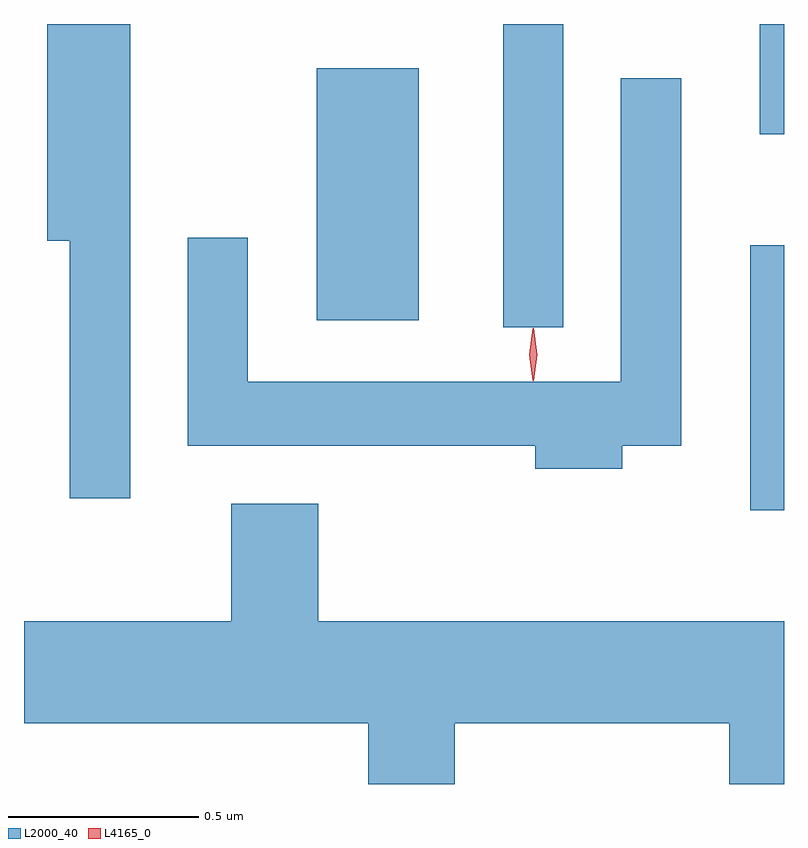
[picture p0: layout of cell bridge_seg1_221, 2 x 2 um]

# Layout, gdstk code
import gdstk
lib = gdstk.Library(unit=1e-6, precision=1e-09)
def R(c, l, rs):  # rectangles x0, y0, x1, y1
    for r in rs: c.add(gdstk.rectangle(r[:2], r[2:], *l))
def P(c, l, *ps):  # polygons
    for p in ps: c.add(gdstk.Polygon(p, *l))
L2000_40 = (2000, 40)
L4165_0 = (4165, 0)

bridge_seg1_221 = lib.new_cell('bridge_seg1_221')
R(bridge_seg1_221, L2000_40, [(829.866,877.936,829.955,878.634), (829.216,878.418,829.374,879.216), (828.726,878.436,828.994,879.099), (829.891,878.926,829.955,879.216)])
P(bridge_seg1_221, L2000_40, [(828.234,879.216),(828.016,879.216),(828.016,878.646),(828.076,878.646),(828.076,877.968),(828.234,877.968)],
  [(829.529,878.106),(829.684,878.106),(829.684,879.073),(829.526,879.073),(829.526,878.274),(828.544,878.274),(828.544,878.653),(828.386,878.653),(828.386,878.106),(829.301,878.106),(829.301,878.046),(829.529,878.046)],
  [(829.089,877.376),(829.811,877.376),(829.811,877.216),(829.955,877.216),(829.955,877.644),(828.729,877.644),(828.729,877.954),(828.501,877.954),(828.501,877.644),(827.955,877.644),(827.955,877.376),(828.861,877.376),(828.861,877.216),(829.089,877.216)])
P(bridge_seg1_221, L4165_0, [(829.294,878.277),(829.285,878.346),(829.294,878.416),(829.295,878.416),(829.296,878.416),(829.305,878.346),(829.296,878.277),(829.295,878.277)],
  [(829.294,878.279),(829.294,878.28),(829.284,878.346),(829.294,878.412),(829.294,878.413),(829.295,878.412),(829.304,878.346),(829.295,878.28)])

lib.write_gds('bridge_seg1_221.gds')
